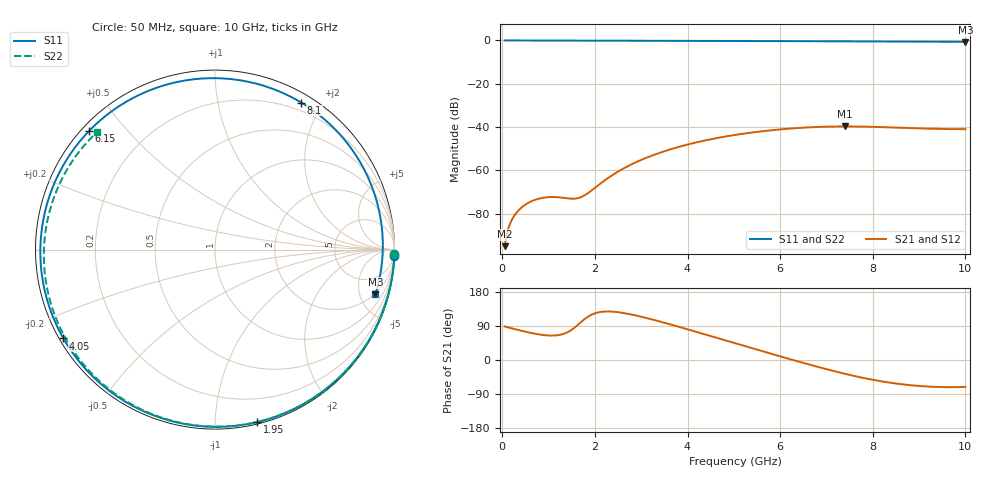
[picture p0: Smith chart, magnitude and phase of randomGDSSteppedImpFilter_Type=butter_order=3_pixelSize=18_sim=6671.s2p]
! freq	dB(S11)	phase(S11)	dB(S12)	phase(S12)
!  dB(S21)	phase(S21)	dB(S22)	phase(S22)
!S-par simulation data
#  GHz  S  DB  R 50
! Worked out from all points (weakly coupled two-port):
!   200 points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, 50 MHz to 10 GHz, reference 50 ohm
!   highest |S21| = -39.73 dB at 7.4 GHz (marker M1); lowest = -95.1 dB at 50 MHz (marker M2)
!   lowest |S11| = -0.7 dB at 10 GHz (marker M3), VSWR 26.68, Z = 95.3 - j340 ohm
!   |S11| at or under -10 dB: nowhere
!   |S22| runs from -0.7 to 0.0 dB; largest |S21 - S12| = 0
!   S11 on the Smith chart (normalised r, x): 50 MHz: 0, -56; 1.95 GHz: 0.01, -1.28; 4.05 GHz: 0.01, -0.27; 6.15 GHz: 0.02, +0.40; 8.1 GHz: 0.10, +1.74; 10 GHz: 1.91, -6.81
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0.05  -0.00 -2.0  -95.06 88.4  -95.06 88.4  -0.00 -1.3
0.3  -0.02 -12.1  -79.77 80.5  -79.77 80.5  -0.01 -7.6
0.55  -0.03 -22.1  -75.17 73.2  -75.17 73.2  -0.02 -13.9
0.85  -0.04 -34.1  -72.80 66.4  -72.80 66.4  -0.03 -21.4
1.55  -0.08 -61.2  -73.11 84.4  -73.11 84.4  -0.05 -38.6
1.75  -0.08 -68.7  -71.89 105.2  -71.89 105.2  -0.05 -43.4
1.95  -0.09 -76.2  -68.95 120.8  -68.95 120.8  -0.06 -48.2
2.6  -0.12 -99.7  -59.37 124.4  -59.37 124.4  -0.08 -63.4
3.4  -0.15 -127.5  -51.91 101.7  -51.91 101.7  -0.11 -81.5
4.05  -0.19 -149.6  -47.82 79.2  -47.82 79.2  -0.13 -95.6
4.55  -0.21 -166.6  -45.44 61.2  -45.44 61.2  -0.15 -106.2
5.05  -0.24 176.2  -43.57 43.2  -43.57 43.2  -0.18 -116.5
5.6  -0.28 156.9  -41.99 23.6  -41.99 23.6  -0.21 -127.8
6.15  -0.32 136.8  -40.83 4.3  -40.83 4.3  -0.24 -138.9
6.7  -0.36 115.9  -40.07 -14.4  -40.07 -14.4  -0.28 -150.0
7.4  -0.40 88.2  -39.73 -36.5  -39.73 -36.5  -0.34 -164.4
8.1  -0.45 59.6  -39.99 -54.5  -39.99 -54.5  -0.41 -179.2
8.35  -0.46 49.3  -40.16 -59.5  -40.16 -59.5  -0.44 175.3
8.8  -0.50 31.0  -40.51 -66.4  -40.51 -66.4  -0.49 165.2
9.2  -0.54 15.0  -40.77 -70.1  -40.77 -70.1  -0.54 155.7
9.6  -0.59 -0.6  -40.93 -71.7  -40.93 -71.7  -0.59 145.7
10  -0.65 -15.5  -40.98 -71.0  -40.98 -71.0  -0.66 134.9
